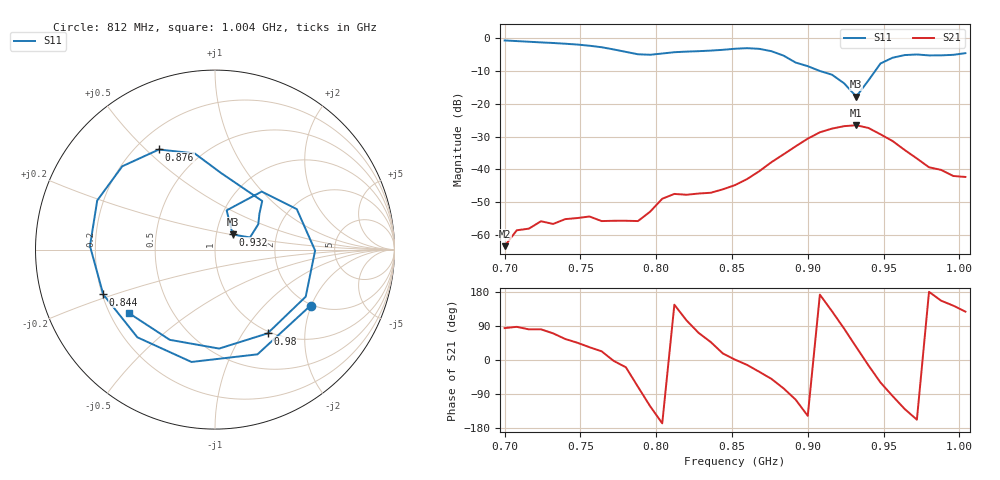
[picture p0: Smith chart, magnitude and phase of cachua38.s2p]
# Hz S RI R 50
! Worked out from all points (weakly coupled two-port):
!   39 points, 700 MHz to 1.004 GHz, reference 50 ohm
!   highest |S21| = -26.51 dB at 932 MHz (marker M1); lowest = -63.5 dB at 700 MHz (marker M2)
!   lowest |S11| = -17.7 dB at 932 MHz (marker M3), VSWR 1.30, Z = 60 + j10.3 ohm
!   |S11| at or under -10 dB: 908.5 MHz to 944.4 MHz (35.9 MHz wide, 3.88 % of centre)
!   S12 and S22 are empty: the file has one direction only
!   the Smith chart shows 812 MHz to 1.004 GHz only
!   S11 on the Smith chart (normalised r, x): 812 MHz: 1.96, -1.97; 844 MHz: 0.20, -0.19; 876 MHz: 0.29, +0.55; 932 MHz: 1.20, +0.21; 980 MHz: 0.97, -1.30; 1.004 GHz: 0.28, -0.30
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7e8  0.7687 0.5277  6.8e-05 0.000668  0 0  0 0
7.24e8  0.8299 -0.2624  0.000253 0.00159  0 0  0 0
7.4e8  0.4437 -0.7027  0.000987 0.00143  0 0  0 0
7.56e8  -0.1958 -0.7499  0.00159 0.00106  0 0  0 0
7.72e8  -0.6542 -0.1839  0.00164 -7.06e-05  0 0  0 0
7.8e8  -0.5764 0.2395  0.00155 -0.00054  0 0  0 0
7.88e8  -0.2176 0.5306  0.000533 -0.00153  0 0  0 0
7.96e8  0.2643 0.498  -0.0012 -0.00192  0 0  0 0
8.04e8  0.5731 0.1346  -0.00347 -0.000791  0 0  0 0
8.12e8  0.5325 -0.3115  -0.0035 0.00237  0 0  0 0
8.28e8  -0.1311 -0.626  0.00135 0.00406  0 0  0 0
8.44e8  -0.6226 -0.2498  0.00474 0.00147  0 0  0 0
8.52e8  -0.6966 0.0198  0.00575 9.86e-05  0 0  0 0
8.76e8  -0.312 0.5577  0.00831 -0.00982  0 0  0 0
9e8  0.263 0.2707  -0.0249 -0.0159  0 0  0 0
9.08e8  0.2476 0.2006  -0.0366 0.00482  0 0  0 0
9.32e8  0.0985 0.0843  0.0391 0.0265  0 0  0 0
9.4e8  0.065 0.2186  0.0417 -0.0104  0 0  0 0
9.56e8  0.4558 0.2254  -0.00249 -0.027  0 0  0 0
9.72e8  0.5054 -0.2623  -0.0136 -0.00562  0 0  0 0
9.8e8  0.2928 -0.4668  -0.0108 3.1e-05  0 0  0 0
1.004e9  -0.481 -0.3529  -0.00468 0.00607  0 0  0 0
